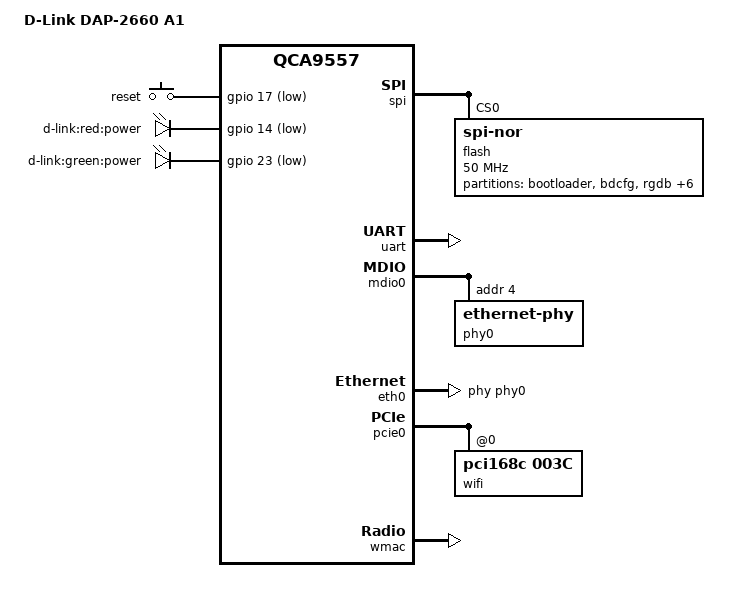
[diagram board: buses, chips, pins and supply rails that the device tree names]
// SPDX-License-Identifier: GPL-2.0-or-later OR MIT
/dts-v1/;

#include <dt-bindings/gpio/gpio.h>
#include <dt-bindings/input/input.h>

#include "qca955x.dtsi"

/ {
	model = "D-Link DAP-2660 A1";
	compatible = "dlink,dap-2660-a1", "qca,qca9557";

	aliases {
		led-boot = &led_power_green;
		led-failsafe = &led_power_red;
		led-running = &led_power_green;
		led-upgrade = &led_power_red;
	};

	keys {
		compatible = "gpio-keys";

		reset {
			label = "reset";
			linux,code = <KEY_RESTART>;
			gpios = <&gpio 17 GPIO_ACTIVE_LOW>;
		};
	};

	leds {
		compatible = "gpio-leds";

		led_power_red: power_red {
			label = "d-link:red:power";
			gpios = <&gpio 14 GPIO_ACTIVE_LOW>;
		};

		led_power_green: power_green {
			label = "d-link:green:power";
			gpios = <&gpio 23 GPIO_ACTIVE_LOW>;
		};
	};
};

&spi {
	status = "okay";

	num-cs = <1>;

	flash@0 {
		compatible = "jedec,spi-nor";
		reg = <0>;
		spi-max-frequency = <50000000>;

		partitions {
			compatible = "fixed-partitions";
			#address-cells = <1>;
			#size-cells = <1>;

			partition@0 {
				label = "bootloader";
				reg = <0x0 0x40000>;
				read-only;
			};

			partition@40000 {
				label = "bdcfg";
				reg = <0x40000 0x10000>;
				read-only;
			};

			partition@50000 {
				label = "rgdb";
				reg = <0x50000 0x10000>;
				read-only;
			};

			partition@60000 {
				label = "unknown";
				reg = <0x60000 0x10000>;
				read-only;
			};

			partition@70000 {
				label = "firmware";
				reg = <0x70000 0xee0000>;
				compatible = "wrg";
			};

			partition@f50000 {
				label = "langpack";
				reg = <0xf50000 0x20000>;
				read-only;
			};

			partition@f70000 {
				label = "captival";
				reg = <0xf70000 0x70000>;
				read-only;
			};

			partition@fe0000 {
				label = "certificate";
				reg = <0xfe0000 0x10000>;
				read-only;
			};

			art: partition@ff0000 {
				label = "art";
				reg = <0xff0000 0x10000>;
				read-only;
			};
		};
	};
};

&uart {
	status = "okay";
};

&mdio0 {
	status = "okay";

	#phy-mask = <0x1>;

	phy0: ethernet-phy@4 {
		reg = <0x4>;
		phy-mode = "rgmii";
	};
};

&eth0 {
	status = "okay";

	pll-data = <0x96000000 0x94000101 0x94001313>;
	phy-handle = <&phy0>;

	gmac-config {
		device = <&gmac>;
		rgmii-enabled = <1>;
	};
};

&pcie0 {
	status = "okay";

	wifi@0,0 {
		compatible = "pci168c,003c";
		reg = <0x0000 0 0 0 0>;
	};
};

&wmac {
	status = "okay";

	mtd-cal-data = <&art 0x1000>;
};
